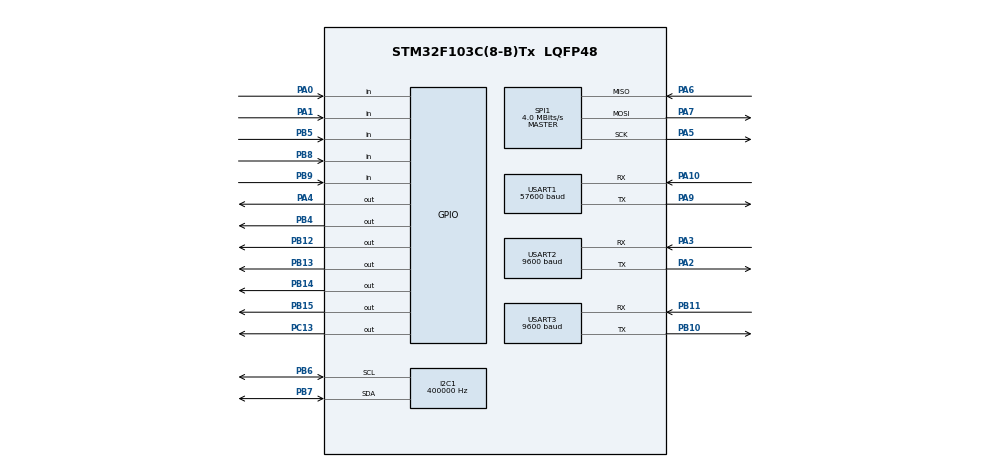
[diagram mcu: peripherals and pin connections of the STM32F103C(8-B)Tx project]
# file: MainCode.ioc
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I2C1.ClockSpeed=400000
I2C1.I2C_Mode=I2C_Fast
Mcu.Family=STM32F1
Mcu.Name=STM32F103C(8-B)Tx
Mcu.Package=LQFP48
NVIC.PriorityGroup=NVIC_PRIORITYGROUP_4
NVIC.USART2_IRQn=true\:0\:0\:false\:false\:true\:true\:true\:true
PA0-WKUP.GPIO_PuPd=GPIO_PULLUP
PA0-WKUP.Signal=GPIO_Input
PA1.GPIO_PuPd=GPIO_PULLUP
PA1.Signal=GPIO_Input
PA10.Mode=Asynchronous
PA10.Signal=USART1_RX
PA13.Mode=Serial_Wire
PA13.Signal=SYS_JTMS-SWDIO
PA14.Mode=Serial_Wire
PA14.Signal=SYS_JTCK-SWCLK
PA2.Mode=Asynchronous
PA2.Signal=USART2_TX
PA3.Mode=Asynchronous
PA3.Signal=USART2_RX
PA4.GPIO_ModeDefaultOutputPP=GPIO_MODE_OUTPUT_PP
PA4.GPIO_PuPd=GPIO_NOPULL
PA4.GPIO_Speed=GPIO_SPEED_FREQ_LOW
PA4.PinState=GPIO_PIN_RESET
PA4.Signal=GPIO_Output
PA5.Mode=Full_Duplex_Master
PA5.Signal=SPI1_SCK
PA6.Mode=Full_Duplex_Master
PA6.Signal=SPI1_MISO
PA7.Mode=Full_Duplex_Master
PA7.Signal=SPI1_MOSI
PA9.Mode=Asynchronous
PA9.Signal=USART1_TX
PB10.Mode=Asynchronous
PB10.Signal=USART3_TX
PB11.Mode=Asynchronous
PB11.Signal=USART3_RX
PB12.Signal=GPIO_Output
PB13.Signal=GPIO_Output
PB14.Signal=GPIO_Output
PB15.Signal=GPIO_Output
PB4.Signal=GPIO_Output
PB5.GPIO_PuPd=GPIO_PULLUP
PB5.Signal=GPIO_Input
PB6.Mode=I2C
PB6.Signal=I2C1_SCL
PB7.Mode=I2C
PB7.Signal=I2C1_SDA
PB8.GPIO_PuPd=GPIO_PULLUP
PB8.Signal=GPIO_Input
PB9.GPIO_PuPd=GPIO_PULLUP
PB9.Signal=GPIO_Input
PC13-TAMPER-RTC.GPIO_ModeDefaultOutputPP=GPIO_MODE_OUTPUT_PP
PC13-TAMPER-RTC.GPIO_PuPd=GPIO_NOPULL
PC13-TAMPER-RTC.GPIO_Speed=GPIO_SPEED_FREQ_LOW
PC13-TAMPER-RTC.PinState=GPIO_PIN_RESET
PC13-TAMPER-RTC.Signal=GPIO_Output
PD0-OSC_IN.Mode=HSE-External-Oscillator
PD0-OSC_IN.Signal=RCC_OSC_IN
PD1-OSC_OUT.Mode=HSE-External-Oscillator
PD1-OSC_OUT.Signal=RCC_OSC_OUT
ProjectManager.HeapSize=0x200
ProjectManager.StackSize=0x400
ProjectManager.TargetToolchain=MDK-ARM V5
RCC.APB1Freq_Value=8000000
RCC.APB2Freq_Value=8000000
RCC.SYSCLKSource=RCC_SYSCLKSOURCE_HSE
SPI1.CalculateBaudRate=4.0 MBits/s
SPI1.Direction=SPI_DIRECTION_2LINES
SPI1.Mode=SPI_MODE_MASTER
SPI1.VirtualType=VM_MASTER
USART1.BaudRate=57600
USART1.VirtualMode=VM_ASYNC
USART2.BaudRate=9600
USART2.VirtualMode=VM_ASYNC
USART3.BaudRate=9600
USART3.VirtualMode=VM_ASYNC
board=custom

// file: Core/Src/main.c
/* USER CODE BEGIN Header */
/**
  ******************************************************************************
  * @file           : main.c
  * @brief          : Main program body
  ******************************************************************************
  * @attention
  *
  * <h2><center>&copy; Copyright (c) 2020 STMicroelectronics.
  * All rights reserved.</center></h2>
  *
  * This software component is licensed by ST under BSD 3-Clause license,
  * the "License"; You may not use this file except in compliance with the
  * License. You may obtain a copy of the License at:
  *                        opensource.org/licenses/BSD-3-Clause
  *
  ******************************************************************************
  */
/* USER CODE END Header */
#include "main.h"

/* USER CODE BEGIN Includes */
#include "rc522.h"
#include "FONTS.h"
#include  "SSD1306.h"
#include "stdint.h"
#include "stdio.h"
#include "flash.h"
/* USER CODE END Includes */

/* USER CODE BEGIN PTD */
//cma bien van tay
 #define FP_OK 0x00
 #define FP_ERROR 0xFE
 #define FP_NOFINGER 0x02
 #define FP_FINGER_NOTMATCH 0x0A
 #define FP_FINGER_NOTMATCH 0x0A
 #define FP_FINGER_NOTFOUND 0x09
/* USER CODE END PTD */

/* USER CODE BEGIN PD */
//dinh nghia ma phim
#define NOKEY 16
#define KEY1 1
#define KEY2 2
#define KEY3 3
#define KEY4 4
#define KEY5 5
#define KEY6 6
#define KEY7 7
#define KEY8 8
#define KEY9 9

#define KEYA 10
#define KEYB 11
#define KEYC 12
#define KEYD 13
#define KEYSTAR 14
#define KEYHASH 15
#define KEY0 0

#define STAMAIN 0
#define STAMENU1 1
#define STAINPUTFGNEWID 2
#define STAINPUTFGDELETEID 3
#define STAINPUTNEWCARDID 4
#define STAINPUTNEWCARD 5
#define STAINPUTDELETECARDID 6
#define STAINPUTDELETECARD 7

#define MAXCARD 30
#define ADDRESSCARD 100 // card save from index 100
/* USER CODE END PD */

I2C_HandleTypeDef hi2c1;

SPI_HandleTypeDef hspi1;

UART_HandleTypeDef huart1;
UART_HandleTypeDef huart2;
UART_HandleTypeDef huart3;

/* USER CODE BEGIN PV */
uint8_t ESPTransmitData[20];
uint8_t ESPReceiveData[1];
uint8_t UARTDataCome=0;

uint32_t TimeCount;
uint32_t FingerTimeCount;
uint8_t CardID[5];

uint8_t DataCard[MAXCARD][5];
uint8_t CardStatus[MAXCARD]={0};

uint8_t CurrentState=STAMAIN;
uint8_t CurrentID;

// cam bien van tay
 uint8_t FPHeader[6]={0xEF,0x01,0xFF,0xFF,0xFF,0xFF};
	 uint8_t FPGetImage[6]={0x01,0x00,0x03,0x01,0x00,0x05};
	 uint8_t FPCreateCharFile1[7]={0x01,0x00,0x04,0x02,0x01,0x00,0x08};
	 uint8_t FPCreateCharFile2[7]={0x01,0x00,0x04,0x02,0x02,0x00,0x09};
	 uint8_t FPCreateTemplate[6]={0x01,0x00,0x03,0x05,0x00,0x09};
	 uint8_t FPDeleteAllFinger[6]={0x01,0x00,0x03,0x0D,0x00,0x11};
   uint8_t FPSearchFinger[11]={0x01,0x00,0x08,0x04,0x01,0x00,0x00,0x00,0x40,0x00,0x4E};
	 uint8_t FPGetNumberOfFinger[6]={0x01,0x00,0x03,0x1D,0x00,0x21};
   uint8_t IDFromFinger;
	 uint8_t CurrentNumberFinger;

/* USER CODE END PV */

void SystemClock_Config(void);
static void MX_GPIO_Init(void);
static void MX_SPI1_Init(void);
static void MX_USART1_UART_Init(void);
static void MX_I2C1_Init(void);
static void MX_USART2_UART_Init(void);
static void MX_USART3_UART_Init(void);

/* USER CODE BEGIN 0 */

void HAL_UART_RxCpltCallback(UART_HandleTypeDef *huart) // ham ngat nhan UART
{
	HAL_UART_Receive_IT(&huart2, (uint8_t*) ESPReceiveData, 1); // bat lai che do ngat
	UARTDataCome=1;

}

void SendESPData()
{
				ESPTransmitData[0]=0xAA;
				ESPTransmitData[1]=0xBB;
				HAL_UART_Transmit(&huart2,ESPTransmitData, 2,1000);
}

// doan code ho tro su dung ham printf
#ifdef __GNUC__
#define PUTCHAR_PROTOTYPE int __io_putchar(int ch)
#else
#define PUTCHAR_PROTOTYPE int fputc(int ch, FILE *f)
#endif /* __GNUC__ */

/**
  * @brief  Retargets the C library printf function to the USART.
  * @param  None
  * @retval None
  */
PUTCHAR_PROTOTYPE
{
  HAL_UART_Transmit(&huart3, (uint8_t *)&ch, 1, HAL_MAX_DELAY);
  return ch;
}

// het doan code ho tro su dung ham printf

int ScanKey()
	{
		HAL_GPIO_WritePin(GPIOB, GPIO_PIN_12, GPIO_PIN_SET);
	  HAL_GPIO_WritePin(GPIOB, GPIO_PIN_13, GPIO_PIN_SET);
	  HAL_GPIO_WritePin(GPIOB, GPIO_PIN_14, GPIO_PIN_SET);
	  HAL_GPIO_WritePin(GPIOB, GPIO_PIN_15, GPIO_PIN_SET);

		HAL_GPIO_WritePin(GPIOB, GPIO_PIN_12, GPIO_PIN_RESET);

		if(HAL_GPIO_ReadPin(GPIOA,GPIO_PIN_0)==0)
		{
			HAL_Delay(250);
			return KEYSTAR;
		}
		if(HAL_GPIO_ReadPin(GPIOA,GPIO_PIN_1)==0)
		{
			HAL_Delay(250);
			return KEY0;
		}
		if(HAL_GPIO_ReadPin(GPIOB,GPIO_PIN_9)==0)
		{
			HAL_Delay(250);
			return KEYHASH;
		}
		if(HAL_GPIO_ReadPin(GPIOB,GPIO_PIN_8)==0)
		{
			HAL_Delay(250);
			return KEYD;
		}

		HAL_GPIO_WritePin(GPIOB, GPIO_PIN_12, GPIO_PIN_SET);
		HAL_GPIO_WritePin(GPIOB, GPIO_PIN_13, GPIO_PIN_RESET);

		if(HAL_GPIO_ReadPin(GPIOA,GPIO_PIN_0)==0)
		{
			HAL_Delay(250);
			return KEY7;
		}
		if(HAL_GPIO_ReadPin(GPIOA,GPIO_PIN_1)==0)
		{
			HAL_Delay(250);
			return KEY8;
		}
		if(HAL_GPIO_ReadPin(GPIOB,GPIO_PIN_9)==0)
		{
			HAL_Delay(250);
			return 9;
		}
		if(HAL_GPIO_ReadPin(GPIOB,GPIO_PIN_8)==0)
		{
			HAL_Delay(250);
			return KEYC;
		}
		HAL_GPIO_WritePin(GPIOB, GPIO_PIN_13, GPIO_PIN_SET);
		HAL_GPIO_WritePin(GPIOB, GPIO_PIN_14, GPIO_PIN_RESET);

		if(HAL_GPIO_ReadPin(GPIOA,GPIO_PIN_0)==0)
		{
			HAL_Delay(250);
			return KEY4;
		}
		if(HAL_GPIO_ReadPin(GPIOA,GPIO_PIN_1)==0)
		{
			HAL_Delay(250);
			return KEY5;
		}
		if(HAL_GPIO_ReadPin(GPIOB,GPIO_PIN_9)==0)
		{
			HAL_Delay(250);
			return KEY6;
		}
		if(HAL_GPIO_ReadPin(GPIOB,GPIO_PIN_8)==0)
		{
			HAL_Delay(250);
			return KEYB;
		}

		HAL_GPIO_WritePin(GPIOB, GPIO_PIN_14, GPIO_PIN_SET);
		HAL_GPIO_WritePin(GPIOB, GPIO_PIN_15, GPIO_PIN_RESET);

		if(HAL_GPIO_ReadPin(GPIOA,GPIO_PIN_0)==0)
		{
			HAL_Delay(250);
			return KEY1;
		}
		if(HAL_GPIO_ReadPin(GPIOA,GPIO_PIN_1)==0)
		{
			HAL_Delay(250);
			return KEY2;
		}
		if(HAL_GPIO_ReadPin(GPIOB,GPIO_PIN_9)==0)
		{
			HAL_Delay(250);
			return KEY3;
		}
		if(HAL_GPIO_ReadPin(GPIOB,GPIO_PIN_8)==0)
		{
			HAL_Delay(250);
			return KEYA;
		}

		HAL_GPIO_WritePin(GPIOB, GPIO_PIN_15, GPIO_PIN_SET);
		return NOKEY;

}

void DecToHexStr(uint8_t decimal, char* hexStr) {
    if (hexStr == NULL) {
        return; // Return if the hexStr pointer is NULL.
    }

    sprintf(hexStr, "%02X ", decimal); // Convert decimal to hexadecimal string with 2 characters and store it in hexStr.
}

void DisplayCardID()
{
	char hexString[3];
	int i;
	SSD1306_GotoXY(0,40);
	SSD1306_Puts("DA NHAN THE",&Font_7x10, SSD1306_COLOR_WHITE);

	SSD1306_GotoXY(0,50);
	printf("DA NHAN THE: ");
	for(i=0;i<5;i++)
	{
		DecToHexStr(CardID[i],hexString);
		SSD1306_Puts(hexString,&Font_7x10, SSD1306_COLOR_WHITE);
		printf("%02X ", CardID[i]);
	}
	SSD1306_UpdateScreen();

}

void ReadDataFlash()
{
	int i;
	uint8_t FlashByte;
	printf("FLASH DATA: \r\n");
	for (i=0;i<300;i++)
	{
	  FlashByte=Flash_Read1Byte(FLASH_USER_START_ADDR+i);
	  printf("%02X ", FlashByte);
	}
	printf("\r\nCARD STATUS \r\n");
  for(i=0;i<MAXCARD;i++)
	{
		FlashByte=Flash_Read1Byte(FLASH_USER_START_ADDR+i*2);
		CardStatus[i]=FlashByte;
		printf("%02X ", CardStatus[i]);
	}
	printf("\r\nCARD DATA \r\n");
	for(i=0;i<MAXCARD;i++)
	{
		printf("\r\nCARD %d: ",i+1);
		FlashByte=Flash_Read1Byte(FLASH_USER_START_ADDR+ADDRESSCARD+i*6);
		DataCard[i][0]=FlashByte;
		printf("%02X ", 	DataCard[i][0]);
		FlashByte=Flash_Read1Byte(FLASH_USER_START_ADDR+ADDRESSCARD+i*6+1);
		DataCard[i][1]=FlashByte;
		printf("%02X ", 	DataCard[i][1]);
		FlashByte=Flash_Read1Byte(FLASH_USER_START_ADDR+ADDRESSCARD+i*6+2);
		DataCard[i][2]=FlashByte;
		printf("%02X ", 	DataCard[i][2]);
		FlashByte=Flash_Read1Byte(FLASH_USER_START_ADDR+ADDRESSCARD+i*6+3);
		DataCard[i][3]=FlashByte;
		printf("%02X ", 	DataCard[i][3]);
		FlashByte=Flash_Read1Byte(FLASH_USER_START_ADDR+ADDRESSCARD+i*6+4);
		DataCard[i][4]=FlashByte;
		printf("%02X ", 	DataCard[i][4]);

	}

}

void WriteDataFlash()
{
	uint16_t FlashData;
	uint8_t i;
	printf("Dang xoa flash... \n");
	FlashErasePage(FLASH_USER_START_ADDR);
	printf("Dang luu the ... \n");
	for(i=0;i<MAXCARD;i++)
	{
			FlashData=CardStatus[i];
		  Flash_Write2Byte(FLASH_USER_START_ADDR +i*2,FlashData);
	}
	for(i=0;i<MAXCARD;i++)
	{
		FlashData=DataCard[i][1];
		FlashData=(FlashData<<8);
		FlashData=FlashData+DataCard[i][0]; // luu trong flash byte thap luu sau byte cao luu truoc moi lan luu 2 byte
		Flash_Write2Byte(FLASH_USER_START_ADDR + ADDRESSCARD +i*6,FlashData); // i*6 vi moi the luu 6 byte

		FlashData=DataCard[i][3];
		FlashData=(FlashData<<8);
		FlashData=FlashData+DataCard[i][2]; // luu trong flash byte thap luu sau byte cao luu truoc moi lan luu 2 byte
		Flash_Write2Byte(FLASH_USER_START_ADDR + ADDRESSCARD +i*6+2,FlashData);

		FlashData=0x00;
		FlashData=(FlashData<<8);
		FlashData=FlashData+DataCard[i][4];; // luu trong flash byte thap luu sau byte cao luu truoc moi lan luu 2 byte the co 5 byte nen byte thu 6 =0
		Flash_Write2Byte(FLASH_USER_START_ADDR + ADDRESSCARD +i*6+4,FlashData);

	}
}

void DisplayPutFinger()
{
	SSD1306_Clear();
	SSD1306_GotoXY(0,50);
	SSD1306_Puts("DAT NGON TAY VAO  ",&Font_7x10, SSD1306_COLOR_WHITE);
	SSD1306_UpdateScreen();
}

void DisplayRemoveFinger()
{
	SSD1306_GotoXY(0,50);
	SSD1306_Puts("HAY BO TAY RA    ",&Font_7x10, SSD1306_COLOR_WHITE);
	SSD1306_UpdateScreen();
}

void DisplayPutFingerAgain()
{
	SSD1306_GotoXY(0,50);
	SSD1306_Puts("DAT LAI NGON TAY  ",&Font_7x10, SSD1306_COLOR_WHITE);
	SSD1306_UpdateScreen();
}

void DisplayFingerRegis()
{
	SSD1306_GotoXY(0,50);
	SSD1306_Puts("DANG KY VAN TAY  ",&Font_7x10, SSD1306_COLOR_WHITE);
	SSD1306_UpdateScreen();
}

void DisplayRegisFingerSuccess()
{
	SSD1306_GotoXY(0,50);
	SSD1306_Puts("DA LUU VAN TAY   ",&Font_7x10, SSD1306_COLOR_WHITE);
	SSD1306_UpdateScreen();
}
void DisplayFingerfailure()
{
	SSD1306_GotoXY(0,50);
	SSD1306_Puts("CO LOI XAY RA   ",&Font_7x10, SSD1306_COLOR_WHITE);
	SSD1306_UpdateScreen();
}

void DisplayFingerNotMatch()
{
	SSD1306_GotoXY(0,50);
	SSD1306_Puts("HAI VAN TAY KHONG KHOP",&Font_7x10, SSD1306_COLOR_WHITE);
	SSD1306_UpdateScreen();
}

void DisplayDeleteSuccess()
{
	SSD1306_GotoXY(0,50);
	SSD1306_Puts("XOA VAN TAY OK   ",&Font_7x10, SSD1306_COLOR_WHITE);
	SSD1306_UpdateScreen();
}

void DisplayFingerFound()
{
	SSD1306_GotoXY(0,50);
	SSD1306_Puts("XAC NHAN VAN TAY  ",&Font_7x10, SSD1306_COLOR_WHITE);
	SSD1306_GotoXY(40,35);
	if(IDFromFinger<100) SSD1306_Putc(' ',&Font_7x10, SSD1306_COLOR_WHITE);
	else SSD1306_Putc(IDFromFinger/100+48,&Font_7x10, SSD1306_COLOR_WHITE);
	if(IDFromFinger<10) SSD1306_Putc(' ',&Font_7x10, SSD1306_COLOR_WHITE);
	else SSD1306_Putc((IDFromFinger%100)/10+48,&Font_7x10, SSD1306_COLOR_WHITE);
  SSD1306_Putc((IDFromFinger%10)+48,&Font_7x10, SSD1306_COLOR_WHITE);
	SSD1306_UpdateScreen();
}

void DisplayFingerNotFound()
{
	SSD1306_GotoXY(0,50);
	SSD1306_Puts("VAN TAY KHONG KHOP",&Font_7x10, SSD1306_COLOR_WHITE);
	SSD1306_UpdateScreen();

}

void DisplayStart()
{
	SSD1306_Clear();
	SSD1306_GotoXY(0,0);
	SSD1306_Puts("   HT DIEM DANH ",&Font_7x10, SSD1306_COLOR_WHITE);
	SSD1306_GotoXY(0,10);
	SSD1306_Puts("DANG KHOI DONG...",&Font_7x10, SSD1306_COLOR_WHITE);
	SSD1306_UpdateScreen();
}

void DisplayWelcome()
{
	SSD1306_Clear();
	SSD1306_GotoXY(0,0);
	SSD1306_Puts("   HT DIEM DANH ",&Font_7x10, SSD1306_COLOR_WHITE);
	SSD1306_GotoXY(0,10);
	SSD1306_Puts(" BAM # vao Menu ",&Font_7x10, SSD1306_COLOR_WHITE);
	SSD1306_UpdateScreen();
}

void DisplayMenu1()
{
	SSD1306_Clear();
	SSD1306_GotoXY(0,0);
	SSD1306_Puts("A.THEM VAN TAY",&Font_7x10, SSD1306_COLOR_WHITE);
	SSD1306_GotoXY(0,10);
	SSD1306_Puts("B.XOA VAN TAY",&Font_7x10, SSD1306_COLOR_WHITE);
	SSD1306_GotoXY(0,20);
	SSD1306_Puts("C.THEM THE TU",&Font_7x10, SSD1306_COLOR_WHITE);
	SSD1306_GotoXY(0,30);
	SSD1306_Puts("D.XOA THE TU",&Font_7x10, SSD1306_COLOR_WHITE);
	SSD1306_UpdateScreen();
}

void DisplayInputID()
{
	SSD1306_Clear();
	SSD1306_GotoXY(0,0);
	SSD1306_Puts("   HAY NHAP ID",&Font_7x10, SSD1306_COLOR_WHITE);
	SSD1306_UpdateScreen();
}

void DisplayCardFound(uint8_t CardFound)
{
	SSD1306_GotoXY(0,50);
	SSD1306_Puts("XAC NHAN THE      ",&Font_7x10, SSD1306_COLOR_WHITE);
	SSD1306_GotoXY(40,35);
	if(CardFound<100) SSD1306_Putc(' ',&Font_7x10, SSD1306_COLOR_WHITE);
	else SSD1306_Putc(CardFound/100+48,&Font_7x10, SSD1306_COLOR_WHITE);
	if(CardFound<10) SSD1306_Putc(' ',&Font_7x10, SSD1306_COLOR_WHITE);
	else SSD1306_Putc((CardFound%100)/10+48,&Font_7x10, SSD1306_COLOR_WHITE);
  SSD1306_Putc((CardFound%10)+48,&Font_7x10, SSD1306_COLOR_WHITE);
	SSD1306_UpdateScreen();
	HAL_Delay(1000);
}

void DisplayCardNotFound()
{
		SSD1306_GotoXY(0,50);
	  SSD1306_Puts("THE KHONG HOP LE",&Font_7x10, SSD1306_COLOR_WHITE);
  	SSD1306_UpdateScreen();
}

void DisplayCardSaveSuccess()
{
	SSD1306_GotoXY(0,50);
	SSD1306_Puts("    DA LUU THE",&Font_7x10, SSD1306_COLOR_WHITE);
  SSD1306_UpdateScreen();
	HAL_Delay(1000);
}

void DisplayCardSDeleteSuccess()
{
	SSD1306_GotoXY(0,50);
	SSD1306_Puts("    DA XOA THE",&Font_7x10, SSD1306_COLOR_WHITE);
  SSD1306_UpdateScreen();
	HAL_Delay(1000);
}
void DisplayInputNewCard()
{
		SSD1306_GotoXY(0,50);
	  SSD1306_Puts("HAY DUA THE VAO",&Font_7x10, SSD1306_COLOR_WHITE);
  	SSD1306_UpdateScreen();
}

// ham cam bien van tay

void SendFPHeader()
{
	HAL_UART_Transmit(&huart1,FPHeader,6,1000);
}

void SendFPGetImage()
{
	 HAL_UART_Transmit(&huart1,FPGetImage,6,1000);
}

void SendFPCreateCharFile1()
{
	HAL_UART_Transmit(&huart1,FPCreateCharFile1,7,1000);
}

void SendFPCreateCharFile2()
{
	HAL_UART_Transmit(&huart1,FPCreateCharFile2,7,1000);
}

void SendFPCreateTemplate()
{
	HAL_UART_Transmit(&huart1,FPCreateTemplate,6,1000);
}

void SendFPDeleteAllFinger()
{
	HAL_UART_Transmit(&huart1,FPDeleteAllFinger,6,1000);
}

void SendFPDSearchFinger()
{
	HAL_UART_Transmit(&huart1,FPSearchFinger,11,1000);
}

void SendFGetNumberOfFinger()
{
	HAL_UART_Transmit(&huart1,FPGetNumberOfFinger,6,1000);
}

void SendStoreFinger(uint16_t IDStore)
{
	uint16_t Sum=0;
	uint8_t DataSend[9]={0};

	DataSend[0]=0x01;
	Sum=Sum+DataSend[0];
	DataSend[1]=0x00;
	Sum=Sum+DataSend[1];
	DataSend[2]=0x06;
	Sum=Sum+DataSend[2];
	DataSend[3]=0x06;
	Sum=Sum+DataSend[3];
	DataSend[4]=0x01;
	Sum=Sum+DataSend[4];
	DataSend[5]= (uint8_t)(IDStore>> 8);
	Sum=Sum+DataSend[5];
	DataSend[6]=(uint8_t) (IDStore&0xFF);
	Sum=Sum+DataSend[6];
  DataSend[7]=(uint8_t)(Sum>> 8);
	DataSend[8]=(uint8_t)(Sum&0xFF);
	HAL_UART_Transmit(&huart1,DataSend,9,1000);
}

void SendDeleteFinger(uint16_t IDDelete)
{
	uint16_t Sum=0;
	uint8_t DataSend[10]={0};

	DataSend[0]=0x01;
	Sum=Sum+DataSend[0];
	DataSend[1]=0x00;
	Sum=Sum+DataSend[1];
	DataSend[2]=0x07;
	Sum=Sum+DataSend[2];
	DataSend[3]=0x0C;
	Sum=Sum+DataSend[3];
	DataSend[4]=(uint8_t)(IDDelete>> 8);
	Sum=Sum+DataSend[4];
	DataSend[5]= (uint8_t) (IDDelete&0xFF);
	Sum=Sum+DataSend[5];
	DataSend[6]=0x00;
	Sum=Sum+DataSend[6];
	DataSend[7]=0x001;
	Sum=Sum+DataSend[7];
  DataSend[8]=(uint8_t)(Sum>> 8);
	DataSend[9]=(uint8_t)(Sum&0xFF);
	HAL_UART_Transmit(&huart1,DataSend,10,1000);
}

uint8_t CheckFPRespsone(uint8_t MaxRead)
{
	uint8_t ByteCount=0;
	uint8_t FPRXData[20]={0xFF};
	uint8_t UARTData[1]={0};
	uint32_t TimeOut = HAL_GetTick();
	uint8_t Result;
	IDFromFinger=0xFF;
	while((HAL_GetTick() - TimeOut < 1000) && ByteCount<MaxRead) // time out is 100 ms
	{
	    if(HAL_UART_Receive(&huart1, (uint8_t *)UARTData, 1, 1000) == HAL_OK)
			{
				FPRXData[ByteCount] = UARTData[0];
				ByteCount++;
			}
	}

	if(ByteCount==0)
	{
		//FPRXData[0]=0xEE;
		//FPRXData[1]=0xEE;
		//HAL_UART_Transmit(&huart2,FPRXData,2,1000);
		Result=FP_ERROR;
		return Result;
	}
	else if(ByteCount<MaxRead)
	{
		Result=FP_ERROR;
		return Result;
	}
	  else // vail data return
	{

		 Result=FPRXData[9];
		 IDFromFinger=FPRXData[11];
	   //HAL_UART_Transmit(&huart2,FPRXData,MaxRead,1000);
		 return Result;

	}
}

uint8_t GetNumberOfFinger()
{
	uint8_t Result;
	SendFPHeader();
	SendFGetNumberOfFinger();
	Result=CheckFPRespsone(14);
	if(Result!=FP_OK) return 0xFF;

	return IDFromFinger;
}

void DeleteOneFinger(uint16_t FingerID)
{
	uint8_t FingerResult;
	SendFPHeader();
	SendDeleteFinger(FingerID);
	FingerResult=CheckFPRespsone(12);
	if(FingerResult==FP_OK)
	{
		printf("DELETE FINGER Success at ID %d \r\n",FingerID);
		DisplayDeleteSuccess();
		HAL_Delay(2000);
	}
	else
	{
		printf("DELETE FINGER failed!!! at ID %d \r\n",FingerID);
		DisplayFingerfailure();
		HAL_Delay(2000);
	}
}

uint8_t RegistryNewFinger(uint16_t LocationID)
{

	uint8_t Result=FP_NOFINGER;
	uint32_t TimeOut = HAL_GetTick();

	DisplayPutFinger();

	while(Result==FP_NOFINGER&&(HAL_GetTick() - TimeOut < 5000)) // time out is 5000 ms
	{

		SendFPHeader();
		SendFPGetImage();
		Result=CheckFPRespsone(12);
	}
	if(Result!=FP_OK) return FP_ERROR;
	// continue if detect finger;
	SendFPHeader();
	SendFPCreateCharFile1();
	Result=CheckFPRespsone(12);
	if(Result!=FP_OK) return FP_ERROR;

	// second get image
	DisplayRemoveFinger();

	HAL_Delay(2000);
	Result=FP_NOFINGER;
	TimeOut = HAL_GetTick();

	DisplayPutFingerAgain();

	while(Result==FP_NOFINGER&&(HAL_GetTick() - TimeOut < 5000)) // time out is 5000 ms
	{

		SendFPHeader();
		SendFPGetImage();
		Result=CheckFPRespsone(12);
	}
	if(Result!=FP_OK) return FP_ERROR;

	// continue if detect finger;
	SendFPHeader();
	SendFPCreateCharFile2();
	Result=CheckFPRespsone(12);
	if(Result!=FP_OK) return FP_ERROR;

	// Compare finger, create template
	SendFPHeader();
	SendFPCreateTemplate();
	Result=CheckFPRespsone(12);
	if(Result==FP_FINGER_NOTMATCH)
	{

		return FP_FINGER_NOTMATCH;
	}
	else if(Result!=FP_OK) return FP_ERROR;

	// save finger
	SendFPHeader();
	SendStoreFinger(LocationID);
	Result=CheckFPRespsone(12);
	if(Result!=FP_OK) return FP_ERROR;
	else
	{
		return FP_OK;
	}

}

uint8_t CheckFinger()
{
	uint8_t Result=FP_NOFINGER;
	uint32_t TimeOut = HAL_GetTick();

	while(Result==FP_NOFINGER&&(HAL_GetTick() - TimeOut < 1000)&&ScanKey()!=KEYHASH) // time out is 1000 ms and no button press
	{

		SendFPHeader();
		SendFPGetImage();
		Result=CheckFPRespsone(12);
	}
	if(Result==FP_NOFINGER) return FP_NOFINGER;
	if(Result!=FP_OK) return FP_ERROR;
	// continue if detect finger;
	SendFPHeader();
	SendFPCreateCharFile1();
	Result=CheckFPRespsone(12);
	if(Result!=FP_OK) return FP_ERROR;

	// Search Fingger
	SendFPHeader();
	SendFPDSearchFinger();
	Result=CheckFPRespsone(16);
	return Result;

}

uint8_t ProcessRegistryNewFinger(uint16_t LocationID)
{
  uint8_t FingerResult;
  DisplayFingerRegis();
	HAL_Delay(1000);
  FingerResult=RegistryNewFinger(LocationID);
	if(FingerResult==FP_OK)
	{
		DisplayRegisFingerSuccess();
		CurrentNumberFinger++;
		if(CurrentNumberFinger==100) CurrentNumberFinger=1;
		HAL_Delay(1500);
	}
	else if(FingerResult==FP_FINGER_NOTMATCH)
	{
		DisplayFingerNotMatch();
		HAL_Delay(1000);
	}
	else
	{
		DisplayFingerfailure();
		HAL_Delay(1000);
	}
	return FingerResult;

}

void DeleteAllFinger()
{

	uint8_t FingerResult;
	SendFPHeader();
	SendFPDeleteAllFinger();
	FingerResult=CheckFPRespsone(12);
	if(FingerResult==FP_OK)
	{
		DisplayDeleteSuccess();
		CurrentNumberFinger=0;
		HAL_Delay(2000);
	}
	else
	{
		DisplayFingerfailure();
		HAL_Delay(1500);
	}

}

uint8_t CheckRFID()
{
	uint8_t i;
	for(i=0;i<MAXCARD;i++)
	{
		if(CardID[0]==DataCard[i][0]&&CardID[1]==DataCard[i][1]&&CardID[2]==DataCard[i][2]&&CardID[3]==DataCard[i][3]&&CardID[4]==DataCard[i][4])
		{
			return i+1;
		}
	}
	if(i==MAXCARD) return 0;
}

void SaveNewCard(uint8_t CardSave)
{
	DataCard[CardSave-1][0]=CardID[0];
	DataCard[CardSave-1][1]=CardID[1];
	DataCard[CardSave-1][2]=CardID[2];
	DataCard[CardSave-1][3]=CardID[3];
	DataCard[CardSave-1][4]=CardID[4];
	CardStatus[CardSave-1]=1;

	DisplayCardSaveSuccess();
	WriteDataFlash();
}

void DeleteCard(uint8_t CardDelete)
{
	DataCard[CardDelete-1][0]=0xFF;
	DataCard[CardDelete-1][1]=0xFF;
	DataCard[CardDelete-1][2]=0xFF;
	DataCard[CardDelete-1][3]=0xFF;
	DataCard[CardDelete-1][4]=0xFF;
	CardStatus[CardDelete-1]=0;

	DisplayCardSDeleteSuccess();
	WriteDataFlash();
}

/* USER CODE END 0 */

int main(void)
{
  /* USER CODE BEGIN 1 */
	 uint8_t FingerResult;

	uint8_t RFIDDATA[5];// flash data for 50 byte (10 card)
	uint8_t CheckIndex;
	uint8_t FoundCard;

	int8_t PassWord[6]={1,2,3,4,5,6};
	int8_t CurrentInput[6];
	int8_t CurrentIndex=0;
	int8_t CheckMatch=0;

  int KeyCode;

  /* USER CODE END 1 */

  /* MCU Configuration--------------------------------------------------------*/

  /* Reset of all peripherals, Initializes the Flash interface and the Systick. */
  HAL_Init();

  /* Configure the system clock */
  SystemClock_Config();

  /* Initialize all configured peripherals */
  MX_GPIO_Init();
  MX_SPI1_Init();
  MX_USART1_UART_Init();
  MX_I2C1_Init();
  MX_USART2_UART_Init();
  MX_USART3_UART_Init();
  /* USER CODE BEGIN 2 */

	HAL_UART_Receive_IT(&huart2, (uint8_t*) ESPReceiveData, 1); // bat che do ngat UART esp
	 SSD1306_Init();

	TM_MFRC522_Init();

	 RFIDDATA[0]=0xB9; // Master card
	 RFIDDATA[1]=0x5E;
	 RFIDDATA[2]=0x93;
	 RFIDDATA[3]=0x84;
	 RFIDDATA[4]=0x82;

	 /*
	 DataCard[0][0]=0xB9;
	 DataCard[0][1]=0x5E;
	 DataCard[0][2]=0x93;
	 DataCard[0][3]=0x84;
	 DataCard[0][4]=0x82;

	 CardStatus[0]=1;
   CardStatus[4]=1;
	 */
	 for(CheckIndex=0;CheckIndex<6;CheckIndex++) // xoa mat ma nhap
		{
				CurrentInput[CheckIndex]=0xFF;

		}
		FingerTimeCount=HAL_GetTick();
		TimeCount=HAL_GetTick();

		DisplayStart();
		//WriteDataFlash();
		ReadDataFlash();
		DisplayWelcome();
		CurrentNumberFinger=GetNumberOfFinger();
		if(CurrentNumberFinger>100)
		{
			CurrentNumberFinger=1;
		}

  /* USER CODE END 2 */

  /* Infinite loop */
  /* USER CODE BEGIN WHILE */
  while (1)
  {

		if(HAL_GetTick()-TimeCount>3000)
		{
			if(CurrentState==STAMAIN)
			{
				DisplayWelcome();
				TimeCount=HAL_GetTick();
			}
		}

		if(HAL_GetTick()-FingerTimeCount>200)
		{
			if(CurrentState==STAMAIN)
			{
					FingerResult=CheckFinger();
					if(FingerResult==FP_OK)
					{
						DisplayFingerFound();
						TimeCount=HAL_GetTick();
					}
					else if(FingerResult==FP_FINGER_NOTFOUND)
					{
						DisplayFingerNotFound();
						TimeCount=HAL_GetTick();
					}
		  }
			FingerTimeCount=HAL_GetTick();
		}

    /* USER CODE END WHILE */

    /* USER CODE BEGIN 3 */

		if (TM_MFRC522_Check(CardID) == MI_OK)
		{
			  //DisplayCardID();
			  if(CurrentState==STAMAIN)
				{

					TimeCount=HAL_GetTick();
					FoundCard=CheckRFID();
					if(FoundCard>0) DisplayCardFound(FoundCard);
					else DisplayCardNotFound();
			  }
				else if(CurrentState==STAINPUTNEWCARD)
				{
					if(CurrentID>0)
					{
						SaveNewCard(CurrentID);
					}
					CurrentState=STAMAIN;
					DisplayWelcome();
				}
		}

		KeyCode=ScanKey();
		if(KeyCode!=NOKEY)
		{

				switch(KeyCode)
				{
					case KEY0:
					case KEY1:
					case KEY2:
					case KEY3:
					case KEY4:
					case KEY5:
					case KEY6:
					case KEY7:
					case KEY8:
					case KEY9:
					{
						/*
						   SSD1306_GotoXY(0,0);
							 SSD1306_Putc(KeyCode+48,&Font_7x10, SSD1306_COLOR_WHITE);
							 SSD1306_UpdateScreen();
						   TimeCount=HAL_GetTick();
						if(CurrentIndex<6)
					  {

							CurrentInput[CurrentIndex]=KeyCode;
							CurrentIndex++;
						}
						*/
						if(CurrentState==STAINPUTFGNEWID||CurrentState==STAINPUTFGDELETEID||CurrentState==STAINPUTNEWCARDID||CurrentState==STAINPUTDELETECARDID)
						{

							 CurrentID=CurrentID*10+KeyCode;
							 if(CurrentID>100) CurrentID=0;

							 SSD1306_GotoXY(40,30);
							 SSD1306_Puts("    ",&Font_7x10, SSD1306_COLOR_WHITE);
						   SSD1306_GotoXY(40,30);
							 if(CurrentID<100)  SSD1306_Putc(' ',&Font_7x10, SSD1306_COLOR_WHITE);
							 else SSD1306_Putc((CurrentID/100)+48,&Font_7x10, SSD1306_COLOR_WHITE);
							 if(CurrentID<10)  SSD1306_Putc(' ',&Font_7x10, SSD1306_COLOR_WHITE);
							 else SSD1306_Putc(((CurrentID%100)/10)+48,&Font_7x10, SSD1306_COLOR_WHITE);
							 SSD1306_Putc((CurrentID%10)+48,&Font_7x10, SSD1306_COLOR_WHITE);
							 SSD1306_UpdateScreen();
						}
						break;
					}
					case KEYHASH:
					{

						if(CurrentState==STAMAIN)
						{
							CurrentState=STAMENU1;
							DisplayMenu1();
						}
						else if(CurrentState==STAINPUTFGNEWID)
						{
							if(CurrentID>0)
							{
								ProcessRegistryNewFinger(CurrentID);
								HAL_Delay(1000);
						  }
							CurrentState=STAMAIN;
							DisplayWelcome();
						}
						else  if(CurrentState==STAINPUTFGDELETEID)
						{
							if(CurrentID>0)
							{
								DeleteOneFinger(CurrentID);
						  }
							CurrentState=STAMAIN;
							DisplayWelcome();
						}
						else if(CurrentState==STAINPUTNEWCARDID)
						{
							CurrentState=STAINPUTNEWCARD;
							DisplayInputNewCard();
						}
						else if(CurrentState==STAINPUTDELETECARDID)
						{
							if(CurrentID>0)
							{
								DeleteCard(CurrentID);
								HAL_Delay(1000);
						  }
							CurrentState=STAMAIN;
							DisplayWelcome();
						}

						/*
						CheckMatch=1;
						for(CheckIndex=0;CheckIndex<6;CheckIndex++)
						{
							if(CurrentInput[CheckIndex]!=PassWord[CheckIndex])
							{
								CheckMatch=0;
							}

						}
						if(CheckMatch==1) // ma hop le
						{

							CurrentIndex=0;
							for(CheckIndex=0;CheckIndex<6;CheckIndex++) //xoa pass cu
							{
							  CurrentInput[CheckIndex]=0xFF;
						  }
						}
						else
						{

							for(TimeCount=0;TimeCount<10;TimeCount++) //mat ma sai cho 5 giay
								{

									HAL_GPIO_WritePin(GPIOC, GPIO_PIN_13, GPIO_PIN_RESET); // bat den
									HAL_Delay(500);
									HAL_GPIO_WritePin(GPIOC, GPIO_PIN_13, GPIO_PIN_SET); // tat den
									HAL_Delay(500);
								}

							  for(CheckIndex=0;CheckIndex<6;CheckIndex++)
								{
									CurrentInput[CheckIndex]=0xFF;

								}

								CurrentIndex=0;
								CurrentState=0;

						}
						*/
						break;
					}
					case KEYSTAR: // bam phim sao de tro ve man hinh chinh
					{
						/*
								for(CheckIndex=0;CheckIndex<6;CheckIndex++)
							{
								CurrentInput[CheckIndex]=0;
							}

								CurrentIndex=0;

						*/

						if(CurrentState!=STAMAIN)
						{
							DisplayInputID();
							CurrentID=0;
						}

							break;

					}
					case KEYA:
					{
						if(CurrentState==STAMENU1)
						{
							CurrentState=STAINPUTFGNEWID;
							DisplayInputID();
							CurrentID=0;

						}
							break;
					}
					case KEYB:
					{
						if(CurrentState==STAMENU1)
						{
							CurrentState=STAINPUTFGDELETEID;
							DisplayInputID();
							CurrentID=0;

						}
							break;
					}
					case KEYC:
					{
						if(CurrentState==STAMENU1)
						{
							CurrentState=STAINPUTNEWCARDID;
							DisplayInputID();
							CurrentID=0;

						}
							break;
					}
					case KEYD:
					{
						if(CurrentState==STAMENU1)
						{
							CurrentState=STAINPUTDELETECARDID;
							DisplayInputID();
							CurrentID=0;

						}
							break;
					}

			}

		}

  }
  /* USER CODE END 3 */
}

void SystemClock_Config(void)
{
  RCC_OscInitTypeDef RCC_OscInitStruct = {0};
  RCC_ClkInitTypeDef RCC_ClkInitStruct = {0};

  /** Initializes the RCC Oscillators according to the specified parameters
  * in the RCC_OscInitTypeDef structure.
  */
  RCC_OscInitStruct.OscillatorType = RCC_OSCILLATORTYPE_HSE;
  RCC_OscInitStruct.HSEState = RCC_HSE_ON;
  RCC_OscInitStruct.PLL.PLLState = RCC_PLL_NONE;
  if (HAL_RCC_OscConfig(&RCC_OscInitStruct) != HAL_OK)
  {
    Error_Handler();
  }

  /** Initializes the CPU, AHB and APB buses clocks
  */
  RCC_ClkInitStruct.ClockType = RCC_CLOCKTYPE_HCLK|RCC_CLOCKTYPE_SYSCLK
                              |RCC_CLOCKTYPE_PCLK1|RCC_CLOCKTYPE_PCLK2;
  RCC_ClkInitStruct.SYSCLKSource = RCC_SYSCLKSOURCE_HSE;
  RCC_ClkInitStruct.AHBCLKDivider = RCC_SYSCLK_DIV1;
  RCC_ClkInitStruct.APB1CLKDivider = RCC_HCLK_DIV1;
  RCC_ClkInitStruct.APB2CLKDivider = RCC_HCLK_DIV1;

  if (HAL_RCC_ClockConfig(&RCC_ClkInitStruct, FLASH_LATENCY_0) != HAL_OK)
  {
    Error_Handler();
  }
}

static void MX_I2C1_Init(void)
{

  hi2c1.Instance = I2C1;
  hi2c1.Init.ClockSpeed = 400000;
  hi2c1.Init.DutyCycle = I2C_DUTYCYCLE_2;
  hi2c1.Init.OwnAddress1 = 0;
  hi2c1.Init.AddressingMode = I2C_ADDRESSINGMODE_7BIT;
  hi2c1.Init.DualAddressMode = I2C_DUALADDRESS_DISABLE;
  hi2c1.Init.OwnAddress2 = 0;
  hi2c1.Init.GeneralCallMode = I2C_GENERALCALL_DISABLE;
  hi2c1.Init.NoStretchMode = I2C_NOSTRETCH_DISABLE;
  if (HAL_I2C_Init(&hi2c1) != HAL_OK)
  {
    Error_Handler();
  }

}

static void MX_SPI1_Init(void)
{

  /* SPI1 parameter configuration*/
  hspi1.Instance = SPI1;
  hspi1.Init.Mode = SPI_MODE_MASTER;
  hspi1.Init.Direction = SPI_DIRECTION_2LINES;
  hspi1.Init.DataSize = SPI_DATASIZE_8BIT;
  hspi1.Init.CLKPolarity = SPI_POLARITY_LOW;
  hspi1.Init.CLKPhase = SPI_PHASE_1EDGE;
  hspi1.Init.NSS = SPI_NSS_SOFT;
  hspi1.Init.BaudRatePrescaler = SPI_BAUDRATEPRESCALER_2;
  hspi1.Init.FirstBit = SPI_FIRSTBIT_MSB;
  hspi1.Init.TIMode = SPI_TIMODE_DISABLE;
  hspi1.Init.CRCCalculation = SPI_CRCCALCULATION_DISABLE;
  hspi1.Init.CRCPolynomial = 10;
  if (HAL_SPI_Init(&hspi1) != HAL_OK)
  {
    Error_Handler();
  }

}

static void MX_USART1_UART_Init(void)
{

  huart1.Instance = USART1;
  huart1.Init.BaudRate = 57600;
  huart1.Init.WordLength = UART_WORDLENGTH_8B;
  huart1.Init.StopBits = UART_STOPBITS_1;
  huart1.Init.Parity = UART_PARITY_NONE;
  huart1.Init.Mode = UART_MODE_TX_RX;
  huart1.Init.HwFlowCtl = UART_HWCONTROL_NONE;
  huart1.Init.OverSampling = UART_OVERSAMPLING_16;
  if (HAL_UART_Init(&huart1) != HAL_OK)
  {
    Error_Handler();
  }

}

static void MX_USART2_UART_Init(void)
{

  huart2.Instance = USART2;
  huart2.Init.BaudRate = 9600;
  huart2.Init.WordLength = UART_WORDLENGTH_8B;
  huart2.Init.StopBits = UART_STOPBITS_1;
  huart2.Init.Parity = UART_PARITY_NONE;
  huart2.Init.Mode = UART_MODE_TX_RX;
  huart2.Init.HwFlowCtl = UART_HWCONTROL_NONE;
  huart2.Init.OverSampling = UART_OVERSAMPLING_16;
  if (HAL_UART_Init(&huart2) != HAL_OK)
  {
    Error_Handler();
  }

}

static void MX_USART3_UART_Init(void)
{

  huart3.Instance = USART3;
  huart3.Init.BaudRate = 9600;
  huart3.Init.WordLength = UART_WORDLENGTH_8B;
  huart3.Init.StopBits = UART_STOPBITS_1;
  huart3.Init.Parity = UART_PARITY_NONE;
  huart3.Init.Mode = UART_MODE_TX_RX;
  huart3.Init.HwFlowCtl = UART_HWCONTROL_NONE;
  huart3.Init.OverSampling = UART_OVERSAMPLING_16;
  if (HAL_UART_Init(&huart3) != HAL_OK)
  {
    Error_Handler();
  }

}

static void MX_GPIO_Init(void)
{
  GPIO_InitTypeDef GPIO_InitStruct = {0};

  /* GPIO Ports Clock Enable */
  __HAL_RCC_GPIOC_CLK_ENABLE();
  __HAL_RCC_GPIOD_CLK_ENABLE();
  __HAL_RCC_GPIOA_CLK_ENABLE();
  __HAL_RCC_GPIOB_CLK_ENABLE();

  /*Configure GPIO pin Output Level */
  HAL_GPIO_WritePin(GPIOC, GPIO_PIN_13, GPIO_PIN_RESET);

  /*Configure GPIO pin Output Level */
  HAL_GPIO_WritePin(GPIOA, GPIO_PIN_4, GPIO_PIN_RESET);

  /*Configure GPIO pin Output Level */
  HAL_GPIO_WritePin(GPIOB, GPIO_PIN_12|GPIO_PIN_13|GPIO_PIN_14|GPIO_PIN_15
                          |GPIO_PIN_4, GPIO_PIN_RESET);

  /*Configure GPIO pin : PC13 */
  GPIO_InitStruct.Pin = GPIO_PIN_13;
  GPIO_InitStruct.Mode = GPIO_MODE_OUTPUT_PP;
  GPIO_InitStruct.Pull = GPIO_NOPULL;
  GPIO_InitStruct.Speed = GPIO_SPEED_FREQ_LOW;
  HAL_GPIO_Init(GPIOC, &GPIO_InitStruct);

  /*Configure GPIO pins : PA0 PA1 */
  GPIO_InitStruct.Pin = GPIO_PIN_0|GPIO_PIN_1;
  GPIO_InitStruct.Mode = GPIO_MODE_INPUT;
  GPIO_InitStruct.Pull = GPIO_PULLUP;
  HAL_GPIO_Init(GPIOA, &GPIO_InitStruct);

  /*Configure GPIO pin : PA4 */
  GPIO_InitStruct.Pin = GPIO_PIN_4;
  GPIO_InitStruct.Mode = GPIO_MODE_OUTPUT_PP;
  GPIO_InitStruct.Pull = GPIO_NOPULL;
  GPIO_InitStruct.Speed = GPIO_SPEED_FREQ_LOW;
  HAL_GPIO_Init(GPIOA, &GPIO_InitStruct);

  /*Configure GPIO pins : PB12 PB13 PB14 PB15
                           PB4 */
  GPIO_InitStruct.Pin = GPIO_PIN_12|GPIO_PIN_13|GPIO_PIN_14|GPIO_PIN_15
                          |GPIO_PIN_4;
  GPIO_InitStruct.Mode = GPIO_MODE_OUTPUT_PP;
  GPIO_InitStruct.Pull = GPIO_NOPULL;
  GPIO_InitStruct.Speed = GPIO_SPEED_FREQ_LOW;
  HAL_GPIO_Init(GPIOB, &GPIO_InitStruct);

  /*Configure GPIO pins : PB5 PB8 PB9 */
  GPIO_InitStruct.Pin = GPIO_PIN_5|GPIO_PIN_8|GPIO_PIN_9;
  GPIO_InitStruct.Mode = GPIO_MODE_INPUT;
  GPIO_InitStruct.Pull = GPIO_PULLUP;
  HAL_GPIO_Init(GPIOB, &GPIO_InitStruct);

}

void Error_Handler(void)
{
}
